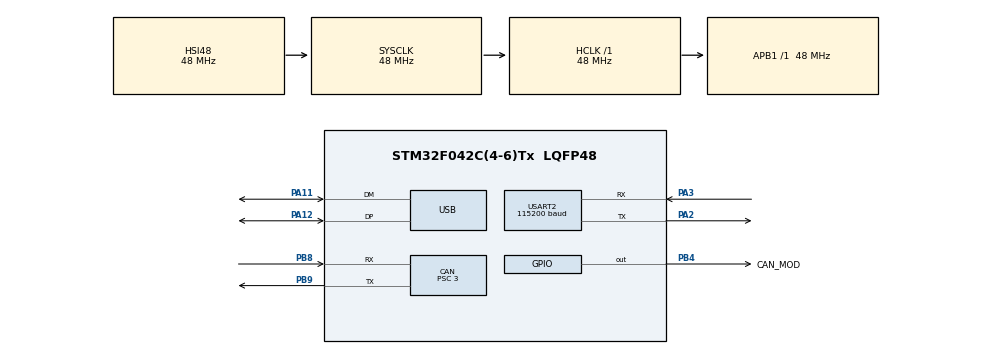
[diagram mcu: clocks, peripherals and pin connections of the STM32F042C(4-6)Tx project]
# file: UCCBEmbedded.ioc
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CAN.ABOM=ENABLE
CAN.BS1=CAN_BS1_11TQ
CAN.BS2=CAN_BS2_4TQ
CAN.CalculateTimeBit=1000
CAN.CalculateTimeQuantum=62.5
CAN.Prescaler=3
CAN.SJW=CAN_SJW_2TQ
Dma.Request0=USART2_TX
Dma.Request1=USART2_RX
Dma.USART2_RX.1.Direction=DMA_PERIPH_TO_MEMORY
Dma.USART2_RX.1.Instance=DMA1_Channel5
Dma.USART2_RX.1.MemDataAlignment=DMA_MDATAALIGN_BYTE
Dma.USART2_RX.1.MemInc=DMA_MINC_ENABLE
Dma.USART2_RX.1.Mode=DMA_NORMAL
Dma.USART2_RX.1.PeriphDataAlignment=DMA_PDATAALIGN_BYTE
Dma.USART2_RX.1.PeriphInc=DMA_PINC_DISABLE
Dma.USART2_RX.1.Priority=DMA_PRIORITY_LOW
Dma.USART2_TX.0.Direction=DMA_MEMORY_TO_PERIPH
Dma.USART2_TX.0.Instance=DMA1_Channel4
Dma.USART2_TX.0.MemDataAlignment=DMA_MDATAALIGN_BYTE
Dma.USART2_TX.0.MemInc=DMA_MINC_ENABLE
Dma.USART2_TX.0.Mode=DMA_NORMAL
Dma.USART2_TX.0.PeriphDataAlignment=DMA_PDATAALIGN_BYTE
Dma.USART2_TX.0.PeriphInc=DMA_PINC_DISABLE
Dma.USART2_TX.0.Priority=DMA_PRIORITY_LOW
IWDG.Prescaler=IWDG_PRESCALER_64
Mcu.Family=STM32F0
Mcu.Name=STM32F042C(4-6)Tx
Mcu.Package=LQFP48
NVIC.DMA1_Channel4_5_IRQn=true\:0\:0\:false\:false\:true\:false\:true\:true
NVIC.USB_IRQn=true\:0\:0\:true\:false\:true\:true\:true\:true
PA11.Mode=Device
PA11.Signal=USB_DM
PA12.Mode=Device
PA12.Signal=USB_DP
PA2.Mode=Asynchronous
PA2.Signal=USART2_TX
PA3.Mode=Asynchronous
PA3.Signal=USART2_RX
PB4.GPIO_Label=CAN_MOD
PB4.Signal=GPIO_Output
PB8.Mode=Master
PB8.Signal=CAN_RX
PB9.Mode=Master
PB9.Signal=CAN_TX
ProjectManager.HeapSize=0x200
ProjectManager.StackSize=0x400
ProjectManager.TargetToolchain=STM32CubeIDE
RCC.AHBFreq_Value=48000000
RCC.APB1Freq_Value=48000000
RCC.APB1TimFreq_Value=48000000
RCC.HCLKFreq_Value=48000000
RCC.SYSCLKFreq_VALUE=48000000
RCC.SYSCLKSource=RCC_SYSCLKSOURCE_HSI48
USART2.BaudRate=115200
USART2.VirtualMode-Asynchronous=VM_ASYNC
USART2.WordLength=WORDLENGTH_8B
USB_DEVICE.CLASS_NAME_FS=CDC
USB_DEVICE.MANUFACTURER_STRING=Husarion
USB_DEVICE.PRODUCT_STRING_CDC_FS=Husarion USB-CAN Interface
USB_DEVICE.USBD_HandleTypeDef=hUsbDeviceFS
USB_DEVICE.VirtualMode=Cdc
USB_DEVICE.VirtualModeFS=Cdc_FS
VP_IWDG_VS_IWDG.Mode=IWDG_Activate
VP_USB_DEVICE_VS_USB_DEVICE_CDC_FS.Mode=CDC_FS
board=UCCBEmbedded

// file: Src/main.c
/**
  ******************************************************************************
  * @file           : main.c
  * @brief          : Main program body
  ******************************************************************************
  * This notice applies to any and all portions of this file
  * that are not between comment pairs USER CODE BEGIN and
  * USER CODE END. Other portions of this file, whether
  * inserted by the user or by software development tools
  * are owned by their respective copyright owners.
  *
  * Copyright (c) 2022 STMicroelectronics International N.V.
  * All rights reserved.
  *
  * Redistribution and use in source and binary forms, with or without
  * modification, are permitted, provided that the following conditions are met:
  *
  * 1. Redistribution of source code must retain the above copyright notice,
  *    this list of conditions and the following disclaimer.
  * 2. Redistributions in binary form must reproduce the above copyright notice,
  *    this list of conditions and the following disclaimer in the documentation
  *    and/or other materials provided with the distribution.
  * 3. Neither the name of STMicroelectronics nor the names of other
  *    contributors to this software may be used to endorse or promote products
  *    derived from this software without specific written permission.
  * 4. This software, including modifications and/or derivative works of this
  *    software, must execute solely and exclusively on microcontroller or
  *    microprocessor devices manufactured by or for STMicroelectronics.
  * 5. Redistribution and use of this software other than as permitted under
  *    this license is void and will automatically terminate your rights under
  *    this license.
  *
  * THIS SOFTWARE IS PROVIDED BY STMICROELECTRONICS AND CONTRIBUTORS "AS IS"
  * AND ANY EXPRESS, IMPLIED OR STATUTORY WARRANTIES, INCLUDING, BUT NOT
  * LIMITED TO, THE IMPLIED WARRANTIES OF MERCHANTABILITY, FITNESS FOR A
  * PARTICULAR PURPOSE AND NON-INFRINGEMENT OF THIRD PARTY INTELLECTUAL PROPERTY
  * RIGHTS ARE DISCLAIMED TO THE FULLEST EXTENT PERMITTED BY LAW. IN NO EVENT
  * SHALL STMICROELECTRONICS OR CONTRIBUTORS BE LIABLE FOR ANY DIRECT, INDIRECT,
  * INCIDENTAL, SPECIAL, EXEMPLARY, OR CONSEQUENTIAL DAMAGES (INCLUDING, BUT NOT
  * LIMITED TO, PROCUREMENT OF SUBSTITUTE GOODS OR SERVICES; LOSS OF USE, DATA,
  * OR PROFITS; OR BUSINESS INTERRUPTION) HOWEVER CAUSED AND ON ANY THEORY OF
  * LIABILITY, WHETHER IN CONTRACT, STRICT LIABILITY, OR TORT (INCLUDING
  * NEGLIGENCE OR OTHERWISE) ARISING IN ANY WAY OUT OF THE USE OF THIS SOFTWARE,
  * EVEN IF ADVISED OF THE POSSIBILITY OF SUCH DAMAGE.
  *
  ******************************************************************************
  */
#include "main.h"
#include "stm32f0xx_hal.h"
#include "usb_device.h"

/* USER CODE BEGIN Includes */
#include "usbd_cdc_if.h"
#include "slcan/slcan.h"
#include "slcan/slcan_additional.h"
/* USER CODE END Includes */

CAN_HandleTypeDef hcan;

IWDG_HandleTypeDef hiwdg;

UART_HandleTypeDef huart2;
DMA_HandleTypeDef hdma_usart2_tx;
DMA_HandleTypeDef hdma_usart2_rx;

/* USER CODE BEGIN PV */
/* Private variables ---------------------------------------------------------*/

/* USER CODE END PV */

void SystemClock_Config(void);
static void MX_GPIO_Init(void);
static void MX_CAN_Init(void);
static void MX_USART2_UART_Init(void);
static void MX_DMA_Init(void);
static void MX_IWDG_Init(void);

/* USER CODE BEGIN PFP */
/* Private function prototypes -----------------------------------------------*/
void bootloaderSwitcher();
/* USER CODE END PFP */

/* USER CODE BEGIN 0 */

#define UART_RX_BUFFER_SIZE    30
#define TYPE_ID 0x16

typedef struct tcanRxFlags {
	union {
		struct {
			uint8_t fifo1 :1;
			uint8_t fifo2 :1;
		};
		uint8_t byte;
	} flags;
	uint8_t activefifo;
} tcanRx;

CanTxMsgTypeDef CanTxBuffer;
CanRxMsgTypeDef CanRxBuffer;

uint8_t uart_rxBuffer[UART_RX_BUFFER_SIZE];
volatile tcanRx canRxFlags;
volatile int32_t serialNumber;
const uint32_t *uid = (uint32_t *)(UID_BASE + 4);

/* USER CODE END 0 */

int main(void)
{
  /* USER CODE BEGIN 1 */
  serialNumber = TYPE_ID | (((*uid) << 8) & 0xFFFFFF00);
  bootloaderSwitcher();
  /* USER CODE END 1 */

  /* MCU Configuration----------------------------------------------------------*/

  /* Reset of all peripherals, Initializes the Flash interface and the Systick. */
  HAL_Init();

  /* Configure the system clock */
  SystemClock_Config();

  /* Initialize all configured peripherals */
  MX_GPIO_Init();
  MX_CAN_Init();
  MX_USART2_UART_Init();
  MX_DMA_Init();
  MX_USB_DEVICE_Init();
  MX_IWDG_Init();
  /* USER CODE BEGIN 2 */

  hcan.pTxMsg = &CanTxBuffer;
  hcan.pRxMsg = &CanRxBuffer;

  canRxFlags.flags.byte = 0;

// CAN RX init
  slcanClearAllFilters();
  HAL_NVIC_SetPriority(CEC_CAN_IRQn, 2, 2);
  HAL_CAN_Receive_IT(&hcan, CAN_FIFO0);

// UART RX

//enable CR character detection and disable UART RX interrupt
  USART2->CR1 &= ~USART_CR1_UE;
  USART2->CR2 |= USART_CR2_ADDM7;
  USART2->CR2 |= (uint32_t)(0x0D << USART_CR2_ADD_Pos);
  USART2->CR1 |= USART_CR1_CMIE;
  USART2->CR1 &= ~USART_CR1_RXNEIE;
  HAL_Delay(1);
  USART2->CR1 |= USART_CR1_UE;

// start DMA
  HAL_UART_Receive_DMA(&huart2, uart_rxBuffer, UART_RX_BUFFER_SIZE);

// enable UART global interrupts
  HAL_NVIC_SetPriority(USART2_IRQn, 3, 3);
  NVIC_EnableIRQ(USART2_IRQn);

  /* USER CODE END 2 */

  /* Infinite loop */
  /* USER CODE BEGIN WHILE */
  while (1)
  {
	slCanCheckCommand(command);
	slcanOutputFlush();
	if (canRxFlags.flags.byte != 0)
	{
		slcanReciveCanFrame(hcan.pRxMsg);
		canRxFlags.flags.fifo1 = 0;
		HAL_CAN_Receive_IT(&hcan, CAN_FIFO0);
	}
  /* USER CODE END WHILE */

  /* USER CODE BEGIN 3 */
	HAL_IWDG_Refresh(&hiwdg);
  }
  /* USER CODE END 3 */

}

void SystemClock_Config(void)
{

  RCC_OscInitTypeDef RCC_OscInitStruct;
  RCC_ClkInitTypeDef RCC_ClkInitStruct;
  RCC_PeriphCLKInitTypeDef PeriphClkInit;

    /**Initializes the CPU, AHB and APB busses clocks
    */
  RCC_OscInitStruct.OscillatorType = RCC_OSCILLATORTYPE_HSI48|RCC_OSCILLATORTYPE_LSI;
  RCC_OscInitStruct.HSI48State = RCC_HSI48_ON;
  RCC_OscInitStruct.LSIState = RCC_LSI_ON;
  RCC_OscInitStruct.PLL.PLLState = RCC_PLL_NONE;
  if (HAL_RCC_OscConfig(&RCC_OscInitStruct) != HAL_OK)
  {
    _Error_Handler(__FILE__, __LINE__);
  }

    /**Initializes the CPU, AHB and APB busses clocks
    */
  RCC_ClkInitStruct.ClockType = RCC_CLOCKTYPE_HCLK|RCC_CLOCKTYPE_SYSCLK
                              |RCC_CLOCKTYPE_PCLK1;
  RCC_ClkInitStruct.SYSCLKSource = RCC_SYSCLKSOURCE_HSI48;
  RCC_ClkInitStruct.AHBCLKDivider = RCC_SYSCLK_DIV1;
  RCC_ClkInitStruct.APB1CLKDivider = RCC_HCLK_DIV1;

  if (HAL_RCC_ClockConfig(&RCC_ClkInitStruct, FLASH_LATENCY_1) != HAL_OK)
  {
    _Error_Handler(__FILE__, __LINE__);
  }

  PeriphClkInit.PeriphClockSelection = RCC_PERIPHCLK_USB;
  PeriphClkInit.UsbClockSelection = RCC_USBCLKSOURCE_HSI48;

  if (HAL_RCCEx_PeriphCLKConfig(&PeriphClkInit) != HAL_OK)
  {
    _Error_Handler(__FILE__, __LINE__);
  }

    /**Configure the Systick interrupt time
    */
  HAL_SYSTICK_Config(HAL_RCC_GetHCLKFreq()/1000);

    /**Configure the Systick
    */
  HAL_SYSTICK_CLKSourceConfig(SYSTICK_CLKSOURCE_HCLK);

  /* SysTick_IRQn interrupt configuration */
  HAL_NVIC_SetPriority(SysTick_IRQn, 0, 0);
}

/* CAN init function */
static void MX_CAN_Init(void)
{

  hcan.Instance = CAN;
  hcan.Init.Prescaler = 3;
  hcan.Init.Mode = CAN_MODE_NORMAL;
  hcan.Init.SJW = CAN_SJW_2TQ;
  hcan.Init.BS1 = CAN_BS1_11TQ;
  hcan.Init.BS2 = CAN_BS2_4TQ;
  hcan.Init.TTCM = DISABLE;
  hcan.Init.ABOM = ENABLE;
  hcan.Init.AWUM = DISABLE;
  hcan.Init.NART = DISABLE;
  hcan.Init.RFLM = DISABLE;
  hcan.Init.TXFP = DISABLE;
  if (HAL_CAN_Init(&hcan) != HAL_OK)
  {
    _Error_Handler(__FILE__, __LINE__);
  }

}

/* IWDG init function */
static void MX_IWDG_Init(void)
{

  hiwdg.Instance = IWDG;
  hiwdg.Init.Prescaler = IWDG_PRESCALER_64;
  hiwdg.Init.Window = 4095;
  hiwdg.Init.Reload = 4095;
  if (HAL_IWDG_Init(&hiwdg) != HAL_OK)
  {
    _Error_Handler(__FILE__, __LINE__);
  }

}

/* USART2 init function */
static void MX_USART2_UART_Init(void)
{

  huart2.Instance = USART2;
  huart2.Init.BaudRate = 115200;
  huart2.Init.WordLength = UART_WORDLENGTH_8B;
  huart2.Init.StopBits = UART_STOPBITS_1;
  huart2.Init.Parity = UART_PARITY_NONE;
  huart2.Init.Mode = UART_MODE_TX_RX;
  huart2.Init.HwFlowCtl = UART_HWCONTROL_NONE;
  huart2.Init.OverSampling = UART_OVERSAMPLING_16;
  huart2.Init.OneBitSampling = UART_ONE_BIT_SAMPLE_DISABLE;
  huart2.AdvancedInit.AdvFeatureInit = UART_ADVFEATURE_NO_INIT;
  if (HAL_UART_Init(&huart2) != HAL_OK)
  {
    _Error_Handler(__FILE__, __LINE__);
  }

}

static void MX_DMA_Init(void)
{
  /* DMA controller clock enable */
  __HAL_RCC_DMA1_CLK_ENABLE();

  /* DMA interrupt init */
  /* DMA1_Channel4_5_IRQn interrupt configuration */
  HAL_NVIC_SetPriority(DMA1_Channel4_5_IRQn, 0, 0);
  HAL_NVIC_EnableIRQ(DMA1_Channel4_5_IRQn);

}

/** Configure pins
*/
static void MX_GPIO_Init(void)
{

  GPIO_InitTypeDef GPIO_InitStruct;

  /* GPIO Ports Clock Enable */
  __HAL_RCC_GPIOA_CLK_ENABLE();
  __HAL_RCC_GPIOB_CLK_ENABLE();

  /*Configure GPIO pin Output Level */
  HAL_GPIO_WritePin(CAN_MOD_GPIO_Port, CAN_MOD_Pin, GPIO_PIN_RESET);

  /*Configure GPIO pin : CAN_MOD_Pin */
  GPIO_InitStruct.Pin = CAN_MOD_Pin;
  GPIO_InitStruct.Mode = GPIO_MODE_OUTPUT_PP;
  GPIO_InitStruct.Pull = GPIO_NOPULL;
  GPIO_InitStruct.Speed = GPIO_SPEED_FREQ_LOW;
  HAL_GPIO_Init(CAN_MOD_GPIO_Port, &GPIO_InitStruct);

}

/* USER CODE BEGIN 4 */

void HAL_CAN_RxCpltCallback(CAN_HandleTypeDef* hcan)
{
	canRxFlags.flags.fifo1 = 1;
    HAL_CAN_Receive_IT(hcan,CAN_FIFO0);
}

void HAL_UART_RxCpltCallback(UART_HandleTypeDef * huart)
{
	slCanProccesInputUART((const char*)&uart_rxBuffer); //decode buffer content
	memset(uart_rxBuffer, 0 , UART_RX_BUFFER_SIZE); //clear the buffer
	HAL_UART_Receive_DMA(huart, uart_rxBuffer, UART_RX_BUFFER_SIZE); //resume DMA
	__HAL_UART_FLUSH_DRREGISTER(huart); //clear the register
}

/* USER CODE END 4 */

void _Error_Handler(char *file, int line)
{
  while(1)
  {
  }
}

/************************ (C) COPYRIGHT STMicroelectronics *****END OF FILE****/
